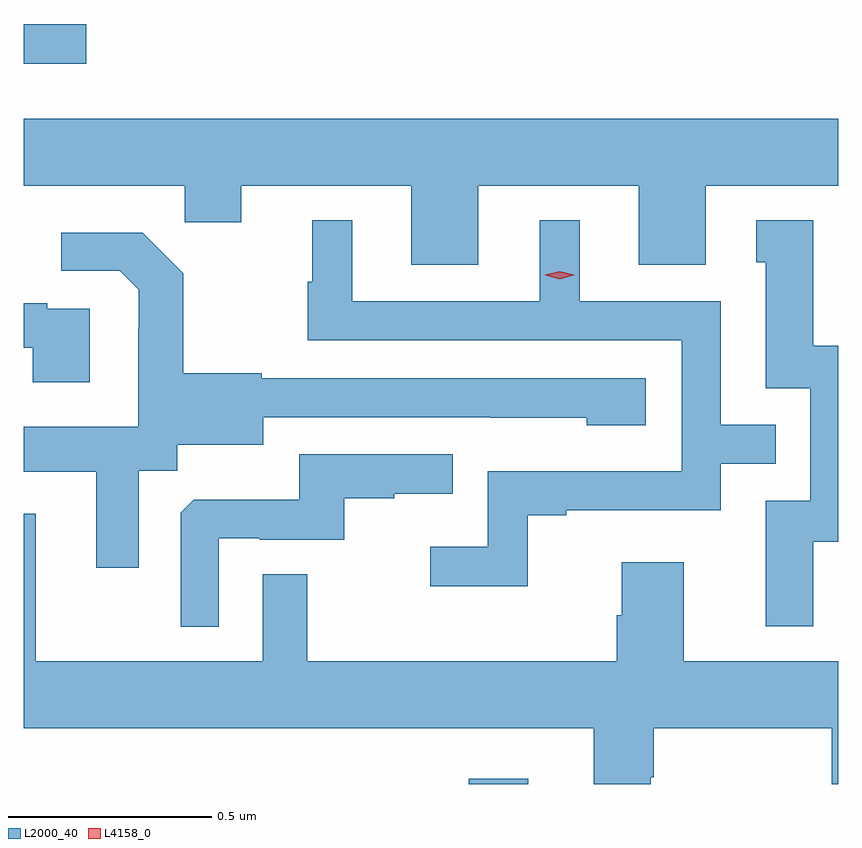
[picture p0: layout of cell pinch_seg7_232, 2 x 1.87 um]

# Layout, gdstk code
import gdstk
lib = gdstk.Library(unit=1e-6, precision=1e-09)
def R(c, l, rs):  # rectangles x0, y0, x1, y1
    for r in rs: c.add(gdstk.rectangle(r[:2], r[2:], *l))
def P(c, l, *ps):  # polygons
    for p in ps: c.add(gdstk.Polygon(p, *l))
L2000_40 = (2000, 40)
L4158_0 = (4158, 0)

pinch_seg7_232 = lib.new_cell('pinch_seg7_232')
R(pinch_seg7_232, L2000_40, [(736.556,1035.111,736.702,1035.124), (735.463,1036.88,735.616,1036.977)])
P(pinch_seg7_232, L2000_40, [(736.579,1036.58),(736.973,1036.58),(736.973,1036.386),(737.137,1036.386),(737.137,1036.58),(737.463,1036.58),(737.463,1036.744),(735.463,1036.744),(735.463,1036.58),(735.859,1036.58),(735.859,1036.49),(735.997,1036.49),(735.997,1036.58),(736.415,1036.58),(736.415,1036.386),(736.579,1036.386)],
  [(737.401,1035.706),(737.463,1035.706),(737.463,1036.187),(737.401,1036.187),(737.401,1036.495),(737.261,1036.495),(737.261,1036.392),(737.285,1036.392),(737.285,1036.083),(737.394,1036.083),(737.394,1035.807),(737.285,1035.807),(737.285,1035.498),(737.401,1035.498)],
  [(736.701,1035.771),(736.795,1035.771),(736.795,1035.783),(737.175,1035.783),(737.175,1035.897),(737.309,1035.897),(737.309,1035.993),(737.175,1035.993),(737.175,1036.296),(736.828,1036.296),(736.828,1036.495),(736.73,1036.495),(736.73,1036.296),(736.27,1036.296),(736.27,1036.495),(736.172,1036.495),(736.172,1036.344),(736.161,1036.344),(736.161,1036.2),(737.079,1036.2),(737.079,1035.879),(736.602,1035.879),(736.602,1035.694),(736.461,1035.694),(736.461,1035.596),(736.701,1035.596)],
  [(735.745,1035.88),(735.84,1035.88),(735.84,1035.944),(736.051,1035.944),(736.051,1036.011),(736.609,1036.011),(736.609,1036.01),(736.845,1036.01),(736.845,1035.992),(736.99,1035.992),(736.99,1036.107),(736.047,1036.107),(736.047,1036.12),(735.855,1036.12),(735.855,1036.365),(735.755,1036.465),(735.555,1036.465),(735.555,1036.371),(735.699,1036.371),(735.746,1036.324),(735.746,1036.229),(735.744,1036.229),(735.744,1035.988),(735.463,1035.988),(735.463,1035.878),(735.641,1035.878),(735.641,1035.642),(735.745,1035.642)],
  [(735.625,1036.278),(735.521,1036.278),(735.521,1036.291),(735.463,1036.291),(735.463,1036.182),(735.485,1036.182),(735.485,1036.098),(735.625,1036.098)],
  [(735.942,1035.714),(736.042,1035.714),(736.042,1035.711),(736.25,1035.711),(736.25,1035.813),(736.373,1035.813),(736.373,1035.824),(736.517,1035.824),(736.517,1035.921),(736.14,1035.921),(736.14,1035.809),(735.881,1035.809),(735.849,1035.777),(735.849,1035.497),(735.942,1035.497)],
  [(737.002,1035.128),(737.01,1035.128),(737.01,1035.248),(737.447,1035.248),(737.447,1035.111),(737.463,1035.111),(737.463,1035.412),(737.083,1035.412),(737.083,1035.655),(736.931,1035.655),(736.931,1035.525),(736.919,1035.525),(736.919,1035.412),(736.159,1035.412),(736.159,1035.626),(736.05,1035.626),(736.05,1035.412),(735.493,1035.412),(735.493,1035.775),(735.463,1035.775),(735.463,1035.248),(736.862,1035.248),(736.862,1035.111),(737.002,1035.111)])
P(pinch_seg7_232, L4158_0, [(736.779,1036.35),(736.744,1036.36),(736.743,1036.36),(736.744,1036.361),(736.779,1036.37),(736.814,1036.361),(736.815,1036.36),(736.814,1036.36)])

lib.write_gds('pinch_seg7_232.gds')
